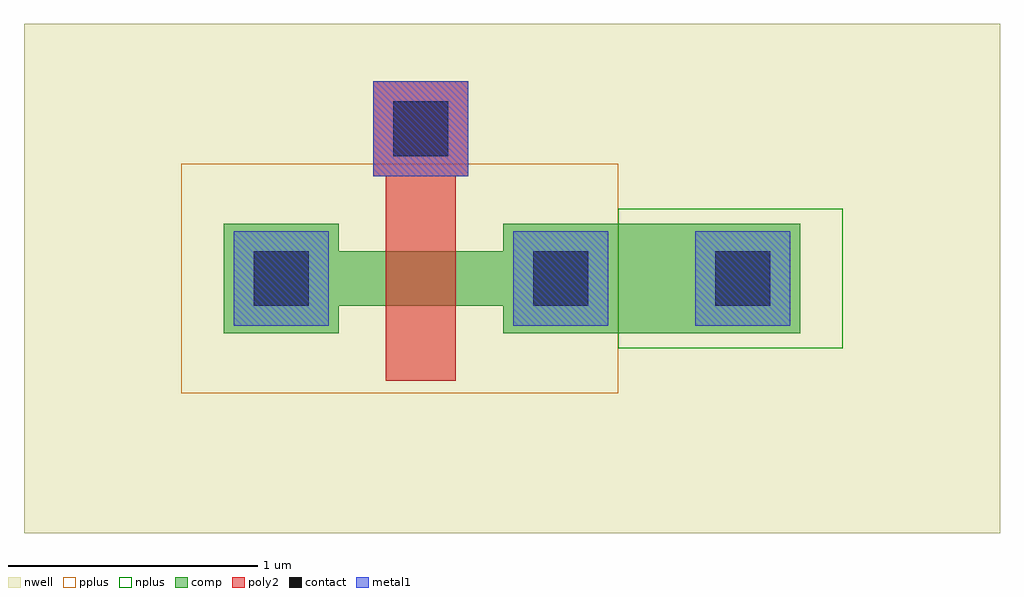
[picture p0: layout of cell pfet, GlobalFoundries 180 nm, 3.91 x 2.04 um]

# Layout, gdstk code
import gdstk
lib = gdstk.Library(unit=1e-6, precision=1e-09)
def R(c, l, rs):  # rectangles x0, y0, x1, y1
    for r in rs: c.add(gdstk.rectangle(r[:2], r[2:], *l))
nwell = (21, 0)
comp = (22, 0)
poly2 = (30, 0)
pplus = (31, 0)
nplus = (32, 0)
contact = (33, 0)
metal1 = (34, 0)

pfet = lib.new_cell('pfet')
R(pfet, nwell, [(-1.26,-0.91,2.65,1.13)])
R(pfet, comp, [(-0.46,-0.11,0,0.33), (0.66,-0.11,1.12,0.33), (1.12,-0.11,1.85,0.33), (0,0,0.66,0.22)])
R(pfet, poly2, [(0.19,-0.3,0.47,0.52), (0.14,0.52,0.52,0.9)])
R(pfet, pplus, [(-0.63,-0.35,1.12,0.57)])
R(pfet, nplus, [(1.12,-0.17,2.02,0.39)])
R(pfet, contact, [(-0.34,0,-0.12,0.22), (0.78,0,1,0.22), (1.51,0,1.73,0.22), (0.22,0.6,0.44,0.82)])
R(pfet, metal1, [(-0.42,-0.08,-0.04,0.3), (0.7,-0.08,1.08,0.3), (1.43,-0.08,1.81,0.3), (0.14,0.52,0.52,0.9)])

lib.write_gds('pfet.gds')
